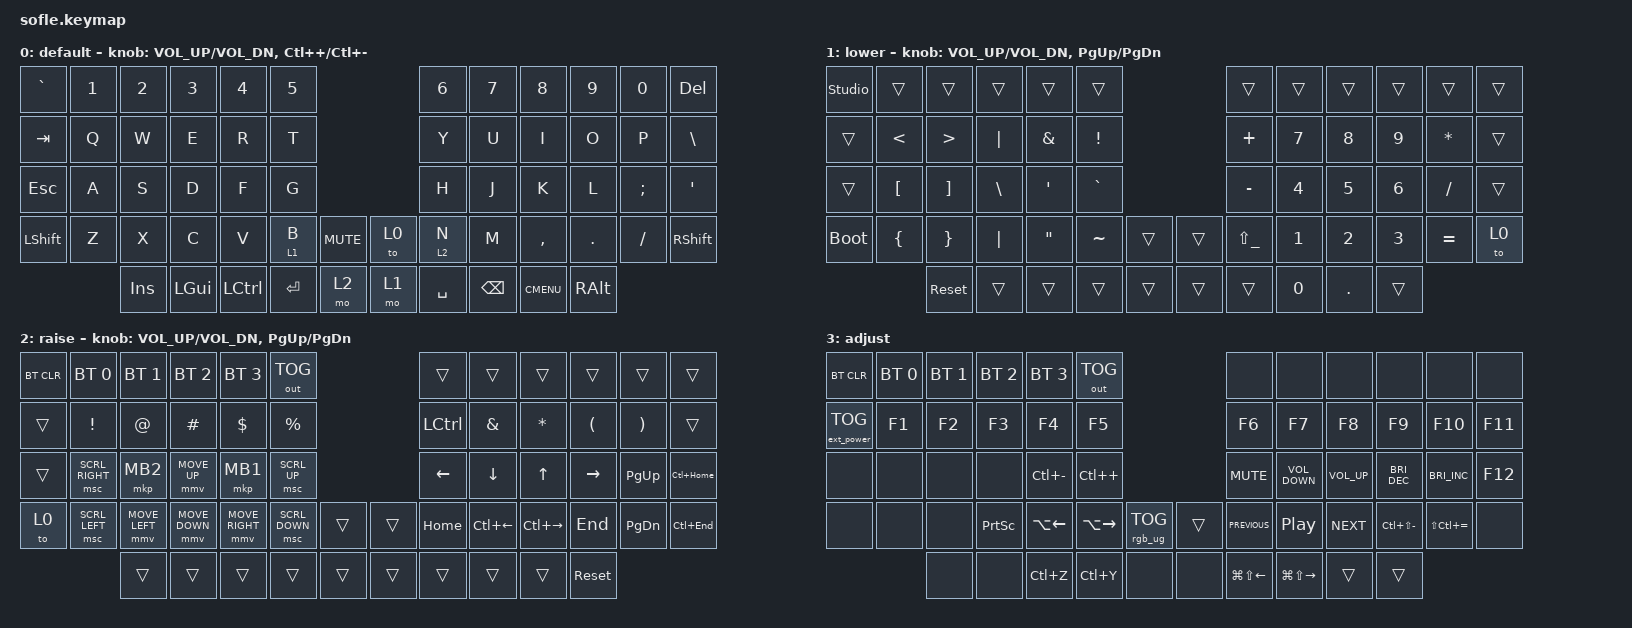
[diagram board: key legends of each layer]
/*
 * Copyright (c) 2020 The ZMK Contributors
 *
 * SPDX-License-Identifier: MIT
 */

#include <behaviors.dtsi>
#include <dt-bindings/zmk/bt.h>
#include <dt-bindings/zmk/ext_power.h>
#include <dt-bindings/zmk/keys.h>
#include <dt-bindings/zmk/outputs.h>
#include <dt-bindings/zmk/pointing.h>
#include <dt-bindings/zmk/rgb.h>

#define BASE 0
#define LOWER 1
#define RAISE 2
#define ADJUST 3

/ {
    // Activate ADJUST layer by pressing raise and lower

    conditional_layers {
        compatible = "zmk,conditional-layers";

        adjust_layer {
            if-layers = <1 2>;
            then-layer = <3>;
        };
    };

    combos {
        compatible = "zmk,combos";

        AdjustLayer {
            bindings = <&mo 3>;
            key-positions = <54 55>;
        };

        capslock {
            bindings = <&kp CLCK>;
            key-positions = <36 49>;
        };

        lessthan {
            bindings = <&kp LESS_THAN>;
            key-positions = <3 4>;
        };

        greaterthan {
            bindings = <&kp GREATER_THAN>;
            key-positions = <7 8>;
        };

        leftparens {
            bindings = <&kp LEFT_PARENTHESIS>;
            key-positions = <15 16>;
        };

        rightparens {
            bindings = <&kp RIGHT_PARENTHESIS>;
            key-positions = <19 20>;
        };

        leftbracket {
            bindings = <&kp LEFT_BRACKET>;
            key-positions = <27 28>;
        };

        rightbracket {
            bindings = <&kp RIGHT_BRACKET>;
            key-positions = <31 32>;
        };

        leftbrace {
            bindings = <&kp LEFT_BRACE>;
            key-positions = <39 40>;
        };

        rightbrace {
            bindings = <&kp RIGHT_BRACE>;
            key-positions = <45 46>;
        };

        commandmenu {
            bindings = <&kp LS(LC(P))>;
            key-positions = <8 9 10>;
        };

        hash {
            bindings = <&kp HASH>;
            key-positions = <5 6>;
        };

        equals {
            bindings = <&kp EQUAL>;
            key-positions = <41 44>;
        };

        Rpipe {
            bindings = <&Rpipe>;
            key-positions = <17 18>;
        };

        Rassign {
            bindings = <&Rassign>;
            key-positions = <29 30>;
        };
    };

    macros {
        Rassign: Rassign {
            compatible = "zmk,behavior-macro";
            #binding-cells = <0>;
            bindings = <&kp LT &kp MINUS>;
            label = "RASSIGN";
        };

        Rpipe: Rpipe {
            compatible = "zmk,behavior-macro";
            #binding-cells = <0>;
            bindings = <&none &kp PIPE &kp GT>;
            label = "RPIPE";
        };
    };

    keymap {
        compatible = "zmk,keymap";

        default_layer {
            label = "default";

            // ------------------------------------------------------------------------------------------------------------
            // |   `   |  1  |  2  |  3   |  4   |  5   |                   |  6   |  7    |  8    |  9   |   0   |       |
            // |  ESC  |  Q  |  W  |  E   |  R   |  T   |                   |  Y   |  U    |  I    |  O   |   P   | BKSPC |
            // |  TAB  |  A  |  S  |  D   |  F   |  G   |                   |  H   |  J    |  K    |  L   |   ;   |   '   |
            // | SHIFT |  Z  |  X  |  C   |  V   |  B   |  MUTE  |  |       |  N   |  M    |  ,    |  .   |   /   | SHIFT |
            //               | GUI | ALT  | CTRL | LOWER|  ENTER |  | SPACE | RAISE| CTRL  | ALT   | GUI  |

            bindings = <
&kp GRAVE  &kp N1  &kp N2   &kp N3    &kp N4     &kp N5                        &kp N6     &kp N7         &kp N8       &kp N9         &kp N0     &kp DELETE
&kp TAB    &kp Q   &kp W    &kp E     &kp R      &kp T                         &kp Y      &kp U          &kp I        &kp O          &kp P      &kp BACKSLASH
&kp ESC    &kp A   &kp S    &kp D     &kp F      &kp G                         &kp H      &kp J          &kp K        &kp L          &kp SEMI   &kp SQT
&kp LSHFT  &kp Z   &kp X    &kp C     &kp V      &lt 1 B  &kp C_MUTE    &to 0  &lt 2 N    &kp M          &kp COMMA    &kp PERIOD     &kp SLASH  &kp RSHFT
                   &kp INS  &kp LGUI  &kp LCTRL  &kp RET  &mo 2         &mo 1  &kp SPACE  &kp BACKSPACE  &kp K_CMENU  &kp RIGHT_ALT
            >;

            sensor-bindings =
                <&inc_dec_kp C_VOL_UP C_VOL_DN>,
                <&inc_dec_kp LC(PLUS) LC(MINUS)>;
        };

        lower_layer {
            label = "lower";

            // TODO: Some binds are waiting for shifted keycode support.
            // ------------------------------------------------------------------------------------------------------------
            // |       |  F1 |  F2 |  F3  |  F4  |  F5  |                   |  F6  |  F7   |  F8   |  F9  |  F10  |  F11  |
            // |   `   |  1  |  2  |  3   |  4   |  5   |                   |  6   |  7    |  8    |  9   |   0   |  F12  |
            // |       |  !  |  @  |  #   |  $   |  %   |                   |  ^   |  &    |  *    |  (   |   )   |   |   |
            // |       |  =  |  -  |  +   |  {   |  }   |        |  |       |  [   |  ]    |  ;    |  :   |   \   |       |
            //               |     |      |      |      |        |  |       |      |       |       |      |

            bindings = <
&studio_unlock  &trans            &trans             &trans         &trans             &trans                             &trans              &trans        &trans        &trans        &trans        &trans
&trans          &kp LESS_THAN     &kp GREATER_THAN   &kp PIPE       &kp AMPS           &kp EXCLAMATION                    &kp PLUS            &kp N7        &kp N8        &kp N9        &kp ASTERISK  &trans
&trans          &kp LEFT_BRACKET  &kp RIGHT_BRACKET  &kp BACKSLASH  &kp SINGLE_QUOTE   &kp GRAVE                          &kp MINUS           &kp NUMBER_4  &kp NUMBER_5  &kp NUMBER_6  &kp SLASH     &trans
&bootloader     &kp LEFT_BRACE    &kp RIGHT_BRACE    &kp PIPE       &kp DOUBLE_QUOTES  &kp TILDE        &trans    &trans  &kp LS(UNDERSCORE)  &kp NUMBER_1  &kp NUMBER_2  &kp NUMBER_3  &kp EQUAL     &to 0
                                  &sys_reset         &trans         &trans             &trans           &trans    &trans  &trans              &kp NUMBER_0  &kp PERIOD    &trans
            >;

            sensor-bindings = <&inc_dec_kp C_VOL_UP C_VOL_DN &inc_dec_kp PG_UP PG_DN>;
        };

        raise_layer {
            label = "raise";

            // ------------------------------------------------------------------------------------------------------------
            // | BTCLR | BT1  | BT2  |  BT3  |  BT4  |  BT5 |                |      |      |       |      |       |       |
            // |       | INS  | PSCR | GUI   |       |      |                | PGUP |      |   ^   |      |       |       |
            // |       | ALT  | CTRL | SHIFT |       | CAPS |                | PGDN |   <- |   v   |  ->  |  DEL  | BKSPC |
            // |       | UNDO | CUT  | COPY  | PASTE |      |      |  |      |      |      |       |      |       |       |
            //                |      |       |       |      |      |  |      |      |      |       |      |

            bindings = <
&bt BT_CLR  &bt BT_SEL 0     &bt BT_SEL 1    &bt BT_SEL 2    &bt BT_SEL 3     &out OUT_TOG                      &trans     &trans         &trans               &trans                &trans                 &trans
&trans      &kp EXCLAMATION  &kp AT_SIGN     &kp HASH        &kp DOLLAR       &kp PERCENT                       &kp LCTRL  &kp AMPERSAND  &kp ASTERISK         &kp LEFT_PARENTHESIS  &kp RIGHT_PARENTHESIS  &trans
&trans      &msc SCRL_RIGHT  &mkp MB2        &mmv MOVE_UP    &mkp MB1         &msc SCRL_UP                      &kp LEFT   &kp DOWN       &kp UP               &kp RIGHT             &kp PAGE_UP            &kp LC(HOME)
&to 0       &msc SCRL_LEFT   &mmv MOVE_LEFT  &mmv MOVE_DOWN  &mmv MOVE_RIGHT  &msc SCRL_DOWN  &trans    &trans  &kp HOME   &kp LC(LEFT)   &kp LC(RIGHT_ARROW)  &kp END               &kp PAGE_DOWN          &kp LC(END)
                             &trans          &trans          &trans           &trans          &trans    &trans  &trans     &trans         &trans               &sys_reset
            >;

            sensor-bindings = <&inc_dec_kp C_VOL_UP C_VOL_DN &inc_dec_kp PG_UP PG_DN>;
        };

        adjust_layer {
            // ----------------------------------------------------------------------------------------------------------------------------
            // | BTCLR  |  BT1    |  BT2    |   BT3   |   BT4   |   BT5   |                  |      |      |       |      |       |       |
            // | EXTPWR | RGB_HUD | RGB_HUI | RGB_SAD | RGB_SAI | RGB_EFF |                  |      |      |       |      |       |       |
            // |        | RGB_BRD | RGB_BRI |         |         |         |                  |      |      |       |      |       |       |
            // |        |         |         |         |         |         | RGB_TOG | |      |      |      |       |      |       |       |
            //                    |         |         |         |         |         | |      |      |      |       |      |

            label = "adjust";
            bindings = <
&bt BT_CLR         &bt BT_SEL 0  &bt BT_SEL 1  &bt BT_SEL 2     &bt BT_SEL 3   &out OUT_TOG                              &none             &none              &none            &none                 &none                 &none
&ext_power EP_TOG  &kp F1        &kp F2        &kp F3           &kp F4         &kp F5                                    &kp F6            &kp F7             &kp F8           &kp F9                &kp F10               &kp F11
&none              &none         &none         &none            &kp LC(MINUS)  &kp LC(PLUS)                              &kp K_MUTE        &kp C_VOLUME_DOWN  &kp C_VOLUME_UP  &kp C_BRIGHTNESS_DEC  &kp C_BRIGHTNESS_INC  &kp F12
&none              &none         &none         &kp PRINTSCREEN  &kp LA(LEFT)   &kp LA(RIGHT)  &rgb_ug RGB_TOG    &trans  &kp C_PREVIOUS    &kp C_PLAY_PAUSE   &kp C_NEXT       &kp LC(LS(MINUS))     &kp LS(LC(EQUAL))     &none
                                 &none         &none            &kp LC(Z)      &kp LC(Y)      &none              &none   &kp LG(LS(LEFT))  &kp LG(LS(RIGHT))  &trans           &trans
            >;
        };
    };
};
